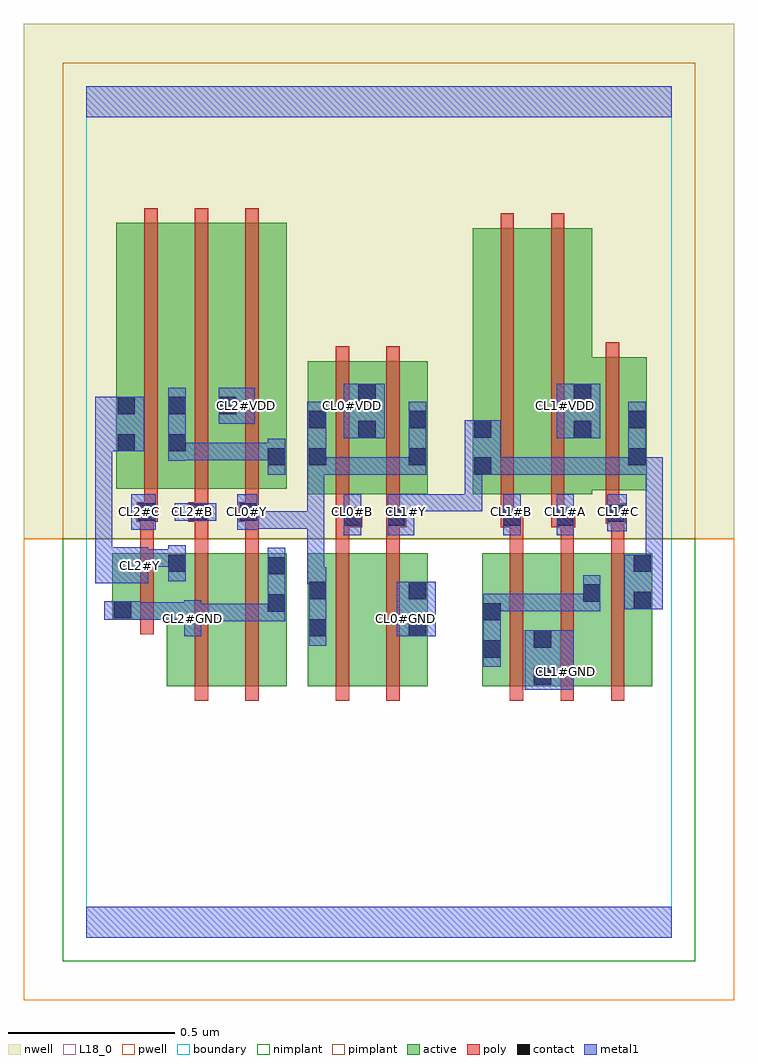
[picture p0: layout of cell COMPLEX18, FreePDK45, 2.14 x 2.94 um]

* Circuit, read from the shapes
.subckt COMPLEX18 CL0#B CL0#GND CL0#VDD CL0#Y CL1#A CL1#B CL1#C CL1#GND CL1#VDD CL1#Y CL2#B CL2#C CL2#GND CL2#VDD CL2#Y
M1 CL2#Y CL2#C CL2#GND VSUBS nfet w=0.2u l=0.04u
M2 n1 CL2#B CL2#Y VSUBS nfet w=0.4u l=0.04u
M3 CL2#GND CL0#Y n1 VSUBS nfet w=0.4u l=0.04u
M4 n2 CL0#B CL0#Y VSUBS nfet w=0.4u l=0.04u
M5 CL0#GND CL1#Y n2 VSUBS nfet w=0.4u l=0.04u
M6 CL1#GND CL1#B n3 VSUBS nfet w=0.4u l=0.04u
M7 n3 CL1#A CL1#GND VSUBS nfet w=0.4u l=0.04u
M8 CL1#Y CL1#C n3 VSUBS nfet w=0.4u l=0.04u
M9 n4 CL2#C CL2#Y n5 pfet w=0.8u l=0.04u
M10 CL2#VDD CL2#B n4 n5 pfet w=0.8u l=0.04u
M11 n4 CL0#Y CL2#VDD n5 pfet w=0.8u l=0.04u
M12 CL0#VDD CL0#B CL0#Y n5 pfet w=0.4u l=0.04u
M13 CL0#Y CL1#Y CL0#VDD n5 pfet w=0.4u l=0.04u
M14 n6 CL1#B CL1#Y n5 pfet w=0.8u l=0.04u
M15 CL1#VDD CL1#A n6 n5 pfet w=0.8u l=0.04u
M16 CL1#Y CL1#C CL1#VDD n5 pfet w=0.4u l=0.04u
.ends

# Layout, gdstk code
import gdstk
lib = gdstk.Library(unit=1e-6, precision=1e-09)
def R(c, l, rs):  # rectangles x0, y0, x1, y1
    for r in rs: c.add(gdstk.rectangle(r[:2], r[2:], *l))
def A(c, l, x, y, w, h, nx, ny, dx, dy):  # array of equal rectangles
    R(c, l, [(x+i*dx, y+j*dy, x+i*dx+w, y+j*dy+h) for i in range(nx) for j in range(ny)])
active = (1, 0)
pwell = (2, 0)
nwell = (3, 0)
nimplant = (4, 0)
pimplant = (5, 0)
poly = (9, 0)
contact = (10, 0)
metal1 = (11, 0)
L18_0 = (18, 0)
boundary = (235, 0)

complex18 = lib.new_cell('COMPLEX18')
A(complex18, active, 0.09, 1.35, 0.06, 0.694, 3, 1, 0.152, 0)
R(complex18, active, [(0.242,0.756,0.422,1.156), (0.422,0.756,0.602,1.156), (0.542,0.756,0.602,1.156), (0.666,0.756,0.726,1.156), (0.666,0.756,0.846,1.156), (0.846,0.756,1.026,1.156), (0.966,0.756,1.026,1.156), (1.19,0.756,1.25,1.156), (1.19,0.756,1.402,1.156), (1.342,0.756,1.402,1.156), (1.342,0.756,1.55,1.156), (1.49,0.756,1.55,1.156), (1.49,0.756,1.702,1.156), (1.642,0.756,1.702,1.156), (0.078,0.956,0.138,1.156), (0.078,0.956,0.302,1.156), (0.242,0.956,0.302,1.156), (0.666,1.334,0.874,1.734), (0.666,1.334,0.726,1.644), (0.814,1.334,1.026,1.734), (0.814,1.334,0.874,1.67), (0.966,1.334,1.026,1.644), (1.162,1.334,1.342,2.134), (1.162,1.334,1.222,2.044), (1.342,1.334,1.522,2.134), (1.462,1.346,1.686,1.746), (1.626,1.346,1.686,1.644), (0.09,1.35,0.302,2.15), (0.242,1.35,0.454,2.15), (0.394,1.35,0.602,2.15), (0.542,1.35,0.602,2.044), (1.462,1.498,1.522,1.67)])
R(complex18, pwell, [(-0.188,-0.188,1.948,1.2)])
R(complex18, nwell, [(-0.188,1.2,1.948,2.748)])
R(complex18, nimplant, [(-0.072,-0.072,1.832,1.2)])
R(complex18, pimplant, [(-0.072,1.2,1.832,2.632)])
A(complex18, poly, 1.274, 0.712, 0.04, 0.488, 3, 1, 0.152, 0)
A(complex18, poly, 0.174, 1.27, 0.04, 0.076, 3, 1, 0.152, 0)
A(complex18, poly, 0.174, 1.306, 0.04, 0.888, 3, 1, 0.152, 0)
R(complex18, poly, [(0.326,0.712,0.366,1.2), (0.478,0.712,0.518,1.2), (0.75,0.712,0.79,1.2), (0.902,0.712,0.942,1.2), (0.162,0.912,0.202,1.2), (0.162,1.16,0.202,1.29), (0.326,1.16,0.366,1.29), (0.478,1.16,0.518,1.29), (0.75,1.16,0.79,1.274), (0.902,1.16,0.942,1.274), (1.274,1.16,1.314,1.274), (1.426,1.16,1.466,1.274), (1.578,1.16,1.618,1.286), (0.75,1.234,0.79,1.274), (0.75,1.234,0.79,1.274), (0.75,1.234,0.83,1.294), (0.902,1.234,0.942,1.274), (0.902,1.234,0.942,1.274), (0.902,1.234,0.962,1.294), (1.246,1.234,1.31,1.294), (1.27,1.234,1.31,1.274), (1.27,1.234,1.314,1.274), (1.398,1.234,1.47,1.294), (1.426,1.234,1.466,1.274), (1.426,1.234,1.466,1.274), (1.562,1.246,1.622,1.306), (0.152,1.25,0.214,1.31), (0.162,1.25,0.202,1.29), (0.162,1.25,0.202,1.29), (0.306,1.25,0.366,1.31), (0.326,1.25,0.366,1.29), (0.326,1.25,0.366,1.29), (0.458,1.25,0.518,1.31), (0.478,1.25,0.518,1.29), (0.478,1.25,0.518,1.29), (0.75,1.254,0.79,1.33), (0.902,1.254,0.942,1.33), (1.246,1.254,1.286,1.33), (1.398,1.254,1.438,1.33), (1.562,1.266,1.602,1.342), (1.562,1.266,1.602,1.306), (1.562,1.266,1.602,1.306), (0.75,1.29,0.79,1.778), (0.902,1.29,0.942,1.778), (1.246,1.29,1.286,2.178), (1.398,1.29,1.438,2.178), (1.562,1.302,1.602,1.79)])
A(complex18, contact, 0.094, 1.574, 0.052, 0.052, 3, 1, 0.152, 0)
R(complex18, contact, [(1.346,0.76,1.398,0.812), (1.194,0.842,1.246,0.894), (1.346,0.872,1.398,0.924), (0.67,0.906,0.722,0.958), (0.97,0.906,1.022,0.958), (1.194,0.954,1.246,1.006), (0.082,0.96,0.134,1.012), (0.546,0.98,0.598,1.032), (1.646,0.988,1.698,1.04), (1.494,1.01,1.546,1.062), (0.67,1.018,0.722,1.07), (0.97,1.018,1.022,1.07), (0.546,1.092,0.598,1.144), (0.246,1.1,0.298,1.152), (1.646,1.1,1.698,1.152), (0.774,1.238,0.826,1.29), (0.906,1.238,0.958,1.29), (1.254,1.238,1.306,1.29), (1.414,1.238,1.466,1.29), (1.566,1.25,1.618,1.302), (0.156,1.254,0.208,1.306), (0.31,1.254,0.362,1.306), (0.462,1.254,0.514,1.306), (1.166,1.392,1.218,1.444), (0.546,1.42,0.598,1.472), (0.67,1.42,0.722,1.472), (0.97,1.42,1.022,1.472), (1.63,1.42,1.682,1.472), (0.094,1.462,0.146,1.514), (0.246,1.462,0.298,1.514), (0.818,1.502,0.87,1.554), (1.466,1.502,1.518,1.554), (1.166,1.504,1.218,1.556), (0.67,1.532,0.722,1.584), (0.97,1.532,1.022,1.584), (1.63,1.532,1.682,1.584), (0.818,1.614,0.87,1.666), (1.466,1.614,1.518,1.666)])
R(complex18, metal1, [(0,0,1.76,0.092), (1.318,0.746,1.466,0.924), (1.194,0.814,1.246,1.034), (0.67,0.878,0.722,1.098), (0.294,0.906,0.346,1.014), (0.934,0.906,1.05,1.07), (0.294,0.952,0.346,1.004), (0.294,0.952,0.346,1.004), (0.294,0.952,0.456,1.004), (0.404,0.952,0.456,1.004), (0.404,0.952,0.456,1.004), (0.404,0.952,0.456,1.004), (0.404,0.952,0.456,1.004), (0.404,0.952,0.456,1.004), (0.404,0.952,0.598,1.004), (0.546,0.952,0.598,1.172), (0.054,0.956,0.162,1.012), (0.11,0.956,0.162,1.008), (0.11,0.956,0.162,1.008), (0.11,0.956,0.346,1.008), (1.194,0.982,1.356,1.034), (1.304,0.982,1.356,1.034), (1.304,0.982,1.356,1.034), (1.304,0.982,1.356,1.034), (1.304,0.982,1.466,1.034), (1.414,0.982,1.466,1.034), (1.414,0.982,1.546,1.034), (1.494,0.982,1.546,1.09), (1.618,0.988,1.734,1.152), (0.67,1.046,0.722,1.114), (0.664,1.062,0.716,1.282), (0.664,1.062,0.722,1.114), (0.026,1.066,0.186,1.174), (0.246,1.072,0.298,1.18), (1.682,1.1,1.734,1.152), (1.682,1.1,1.734,1.152), (1.682,1.1,1.734,1.444), (0.134,1.116,0.186,1.168), (0.134,1.116,0.186,1.168), (0.134,1.116,0.298,1.168), (0.246,1.116,0.298,1.168), (0.246,1.116,0.298,1.18), (0.026,1.122,0.078,1.174), (0.026,1.122,0.078,1.174), (0.026,1.122,0.078,1.514), (0.774,1.21,0.826,1.334), (0.906,1.21,0.986,1.334), (1.254,1.21,1.306,1.334), (1.414,1.21,1.466,1.334), (1.566,1.222,1.626,1.334), (0.134,1.226,0.208,1.334), (0.454,1.226,0.514,1.334), (0.462,1.23,0.716,1.282), (0.664,1.23,0.716,1.282), (0.664,1.23,0.716,1.282), (0.664,1.23,0.716,1.282), (0.664,1.23,0.716,1.444), (0.266,1.254,0.39,1.306), (0.934,1.282,1.19,1.334), (1.138,1.282,1.19,1.334), (1.138,1.282,1.19,1.334), (1.138,1.282,1.19,1.334), (1.138,1.282,1.19,1.444), (0.546,1.392,0.598,1.5), (0.664,1.392,0.722,1.612), (0.67,1.392,0.848,1.444), (0.796,1.392,0.848,1.444), (0.796,1.392,0.848,1.444), (0.796,1.392,0.848,1.444), (0.796,1.392,0.848,1.444), (0.796,1.392,0.848,1.444), (0.796,1.392,1.022,1.444), (0.97,1.392,1.022,1.444), (0.97,1.392,1.022,1.444), (0.97,1.392,1.022,1.612), (1.138,1.392,1.246,1.556), (1.194,1.392,1.356,1.444), (1.304,1.392,1.356,1.444), (1.304,1.392,1.356,1.444), (1.304,1.392,1.356,1.444), (1.304,1.392,1.466,1.444), (1.414,1.392,1.466,1.444), (1.414,1.392,1.466,1.444), (1.414,1.392,1.466,1.444), (1.414,1.392,1.682,1.444), (1.63,1.392,1.682,1.444), (1.63,1.392,1.682,1.444), (1.63,1.392,1.682,1.444), (1.63,1.392,1.682,1.612), (1.63,1.392,1.734,1.444), (0.246,1.434,0.298,1.654), (0.246,1.436,0.298,1.488), (0.246,1.436,0.298,1.488), (0.246,1.436,0.456,1.488), (0.404,1.436,0.456,1.488), (0.404,1.436,0.598,1.488), (0.546,1.436,0.598,1.488), (0.546,1.436,0.598,1.488), (0.026,1.462,0.174,1.626), (0.774,1.502,0.898,1.666), (1.414,1.502,1.546,1.666), (0.398,1.546,0.506,1.654), (0,2.468,1.76,2.56)])
A(complex18, L18_0, 0.134, 1.254, 0.052, 0.052, 3, 1, 0.16, 0)
A(complex18, L18_0, 1.254, 1.254, 0.052, 0.052, 3, 1, 0.16, 0)
R(complex18, L18_0, [(0,0,1.76,0.092), (1.318,0.746,1.466,0.924), (1.414,0.774,1.466,0.826), (0.67,0.878,0.722,1.098), (0.294,0.906,0.346,1.014), (0.934,0.906,1.05,1.07), (0.294,0.934,0.346,0.986), (0.934,0.934,0.986,0.986), (0.294,0.952,0.346,1.004), (0.294,0.952,0.346,1.004), (0.294,0.952,0.456,1.004), (0.404,0.952,0.456,1.004), (0.404,0.952,0.456,1.004), (0.404,0.952,0.456,1.004), (0.404,0.952,0.456,1.004), (0.404,0.952,0.456,1.004), (0.404,0.952,0.598,1.004), (0.546,0.952,0.598,1.172), (0.054,0.956,0.162,1.012), (0.11,0.956,0.162,1.008), (0.11,0.956,0.162,1.008), (0.11,0.956,0.346,1.008), (1.618,0.988,1.734,1.152), (0.67,1.046,0.722,1.114), (0.664,1.062,0.716,1.282), (0.664,1.062,0.722,1.114), (0.026,1.066,0.186,1.174), (0.246,1.072,0.298,1.18), (0.134,1.094,0.186,1.146), (1.682,1.1,1.734,1.152), (1.682,1.1,1.734,1.152), (1.682,1.1,1.734,1.444), (0.134,1.116,0.186,1.168), (0.134,1.116,0.186,1.168), (0.134,1.116,0.298,1.168), (0.246,1.116,0.298,1.168), (0.246,1.116,0.298,1.18), (0.026,1.122,0.078,1.174), (0.026,1.122,0.078,1.174), (0.026,1.122,0.078,1.514), (0.774,1.21,0.826,1.334), (0.906,1.21,0.986,1.334), (1.254,1.21,1.306,1.334), (1.414,1.21,1.466,1.334), (1.566,1.222,1.626,1.334), (0.134,1.226,0.208,1.334), (0.454,1.226,0.514,1.334), (0.462,1.23,0.716,1.282), (0.664,1.23,0.716,1.282), (0.664,1.23,0.716,1.282), (0.664,1.23,0.716,1.282), (0.664,1.23,0.716,1.444), (0.266,1.254,0.39,1.306), (0.774,1.254,0.826,1.306), (0.934,1.254,0.986,1.306), (0.934,1.282,1.19,1.334), (1.138,1.282,1.19,1.334), (1.138,1.282,1.19,1.334), (1.138,1.282,1.19,1.334), (1.138,1.282,1.19,1.444), (0.664,1.392,0.722,1.612), (0.67,1.392,0.848,1.444), (0.796,1.392,0.848,1.444), (0.796,1.392,0.848,1.444), (0.796,1.392,0.848,1.444), (0.796,1.392,0.848,1.444), (0.796,1.392,0.848,1.444), (0.796,1.392,1.022,1.444), (0.97,1.392,1.022,1.444), (0.97,1.392,1.022,1.444), (0.97,1.392,1.022,1.612), (1.138,1.392,1.246,1.556), (1.194,1.392,1.356,1.444), (1.304,1.392,1.356,1.444), (1.304,1.392,1.356,1.444), (1.304,1.392,1.356,1.444), (1.304,1.392,1.466,1.444), (1.414,1.392,1.466,1.444), (1.414,1.392,1.466,1.444), (1.414,1.392,1.466,1.444), (1.414,1.392,1.682,1.444), (1.63,1.392,1.682,1.444), (1.63,1.392,1.682,1.444), (1.63,1.392,1.682,1.444), (1.63,1.392,1.682,1.612), (1.63,1.392,1.734,1.444), (0.026,1.462,0.174,1.626), (0.774,1.502,0.898,1.666), (1.414,1.502,1.546,1.666), (0.398,1.546,0.506,1.654), (0.454,1.574,0.506,1.626), (0.774,1.574,0.826,1.626), (1.414,1.574,1.466,1.626), (0,2.468,1.76,2.56)])
R(complex18, boundary, [(0,0,1.76,2.56)])
complex18.add(gdstk.Label('CL0#B', (0.8,1.28), layer=11, texttype=0))
complex18.add(gdstk.Label('CL0#GND', (0.96,0.96), layer=11, texttype=0))
complex18.add(gdstk.Label('CL0#VDD', (0.8,1.6), layer=11, texttype=0))
complex18.add(gdstk.Label('CL0#Y', (0.48,1.28), layer=11, texttype=0))
complex18.add(gdstk.Label('CL1#A', (1.44,1.28), layer=11, texttype=0))
complex18.add(gdstk.Label('CL1#B', (1.28,1.28), layer=11, texttype=0))
complex18.add(gdstk.Label('CL1#C', (1.6,1.28), layer=11, texttype=0))
complex18.add(gdstk.Label('CL1#GND', (1.44,0.8), layer=11, texttype=0))
complex18.add(gdstk.Label('CL1#VDD', (1.44,1.6), layer=11, texttype=0))
complex18.add(gdstk.Label('CL1#Y', (0.96,1.28), layer=11, texttype=0))
complex18.add(gdstk.Label('CL2#B', (0.32,1.28), layer=11, texttype=0))
complex18.add(gdstk.Label('CL2#C', (0.16,1.28), layer=11, texttype=0))
complex18.add(gdstk.Label('CL2#GND', (0.32,0.96), layer=11, texttype=0))
complex18.add(gdstk.Label('CL2#VDD', (0.48,1.6), layer=11, texttype=0))
complex18.add(gdstk.Label('CL2#Y', (0.16,1.12), layer=11, texttype=0))

lib.write_gds('COMPLEX18.gds')
